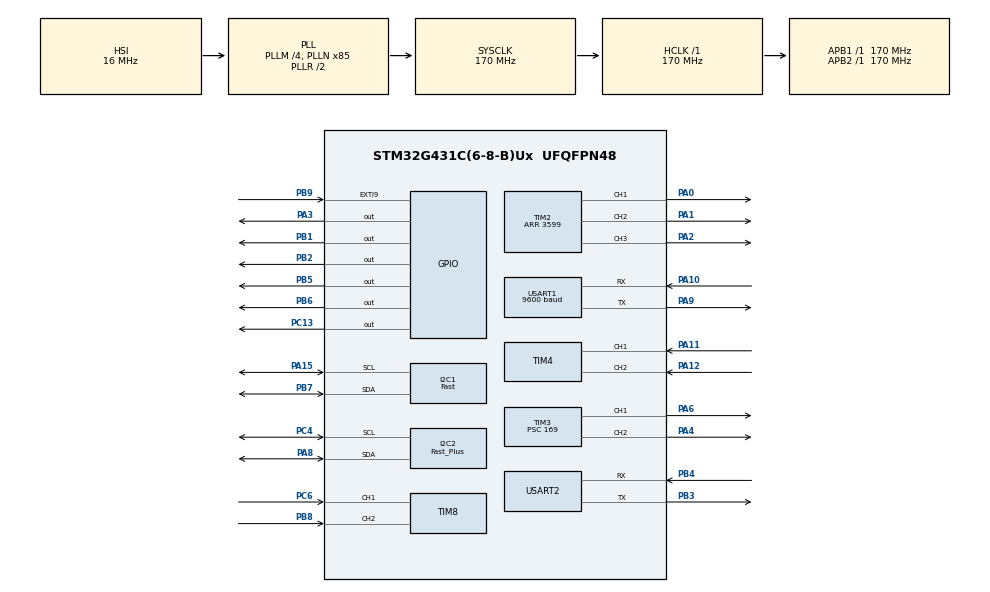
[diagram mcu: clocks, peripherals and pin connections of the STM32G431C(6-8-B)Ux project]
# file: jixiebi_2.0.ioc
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I2C1.I2C_Speed_Mode=I2C_Fast
I2C1.Timing=0x40621236
I2C2.I2C_Speed_Mode=I2C_Fast_Plus
I2C2.Timing=0x4052060F
Mcu.Family=STM32G4
Mcu.Name=STM32G431C(6-8-B)Ux
Mcu.Package=UFQFPN48
NVIC.EXTI9_5_IRQn=true\:0\:0\:false\:false\:true\:true\:true\:true
NVIC.PriorityGroup=NVIC_PRIORITYGROUP_4
NVIC.TIM6_DAC_IRQn=true\:0\:0\:false\:false\:true\:true\:true\:true
NVIC.USART1_IRQn=true\:0\:0\:true\:false\:true\:true\:true\:true
NVIC.USART2_IRQn=true\:0\:0\:false\:false\:true\:true\:true\:true
PA0.GPIO_Speed=GPIO_SPEED_FREQ_VERY_HIGH
PA0.Signal=S_TIM2_CH1
PA1.GPIO_Speed=GPIO_SPEED_FREQ_VERY_HIGH
PA1.Signal=S_TIM2_CH2
PA10.Mode=Asynchronous
PA10.Signal=USART1_RX
PA11.Signal=S_TIM4_CH1
PA12.Signal=S_TIM4_CH2
PA13.Mode=Serial_Wire
PA13.Signal=SYS_JTMS-SWDIO
PA14.Mode=Serial_Wire
PA14.Signal=SYS_JTCK-SWCLK
PA15.GPIO_Pu=GPIO_NOPULL
PA15.Mode=I2C
PA15.Signal=I2C1_SCL
PA2.GPIO_Speed=GPIO_SPEED_FREQ_VERY_HIGH
PA2.Signal=S_TIM2_CH3
PA3.Signal=GPIO_Output
PA4.GPIO_PuPd=GPIO_PULLDOWN
PA4.Signal=S_TIM3_CH2
PA6.Signal=S_TIM3_CH1
PA8.GPIO_Pu=GPIO_NOPULL
PA8.GPIO_Speed=GPIO_SPEED_FREQ_LOW
PA8.Mode=I2C
PA8.Signal=I2C2_SDA
PA9.Mode=Asynchronous
PA9.Signal=USART1_TX
PB1.Signal=GPIO_Output
PB2.Signal=GPIO_Output
PB3.Mode=Asynchronous
PB3.Signal=USART2_TX
PB4.Mode=Asynchronous
PB4.Signal=USART2_RX
PB5.Signal=GPIO_Output
PB6.Signal=GPIO_Output
PB7.GPIO_Pu=GPIO_NOPULL
PB7.Mode=I2C
PB7.Signal=I2C1_SDA
PB8-BOOT0.Signal=S_TIM8_CH2
PB9.Signal=GPXTI9
PC13.Signal=GPIO_Output
PC4.GPIO_Pu=GPIO_NOPULL
PC4.Mode=I2C
PC4.Signal=I2C2_SCL
PC6.Signal=S_TIM8_CH1
PF0-OSC_IN.Mode=HSE-External-Oscillator
PF0-OSC_IN.Signal=RCC_OSC_IN
PF1-OSC_OUT.Mode=HSE-External-Oscillator
PF1-OSC_OUT.Signal=RCC_OSC_OUT
ProjectManager.HeapSize=0x200
ProjectManager.StackSize=0x400
ProjectManager.TargetToolchain=MDK-ARM V5.32
RCC.ADC12Freq_Value=170000000
RCC.AHBFreq_Value=170000000
RCC.APB1Freq_Value=170000000
RCC.APB1TimFreq_Value=170000000
RCC.APB2Freq_Value=170000000
RCC.APB2TimFreq_Value=170000000
RCC.CortexFreq_Value=170000000
RCC.EXTERNAL_CLOCK_VALUE=12288000
RCC.HCLKFreq_Value=170000000
RCC.HSE_VALUE=8000000
RCC.HSI48_VALUE=48000000
RCC.HSI_VALUE=16000000
RCC.LSE_VALUE=32768
RCC.PLLM=RCC_PLLM_DIV4
RCC.PLLN=85
RCC.SYSCLKFreq_VALUE=170000000
RCC.SYSCLKSource=RCC_SYSCLKSOURCE_PLLCLK
RCC.USBFreq_Value=170000000
RCC.VCOOutputFreq_Value=340000000
SH.S_TIM2_CH1.0=TIM2_CH1,PWM Generation1 CH1
SH.S_TIM2_CH2.0=TIM2_CH2,PWM Generation2 CH2
SH.S_TIM2_CH3.0=TIM2_CH3,PWM Generation3 CH3
SH.S_TIM3_CH1.0=TIM3_CH1,PWM Generation1 CH1
SH.S_TIM3_CH2.0=TIM3_CH2,PWM Generation2 CH2
SH.S_TIM4_CH1.0=TIM4_CH1,Encoder_Interface
SH.S_TIM4_CH2.0=TIM4_CH2,Encoder_Interface
SH.S_TIM8_CH1.0=TIM8_CH1,Encoder_Interface
SH.S_TIM8_CH2.0=TIM8_CH2,Encoder_Interface
TIM2.AutoReloadPreload=TIM_AUTORELOAD_PRELOAD_ENABLE
TIM2.Channel-PWM\ Generation1\ CH1=TIM_CHANNEL_1
TIM2.Channel-PWM\ Generation2\ CH2=TIM_CHANNEL_2
TIM2.Channel-PWM\ Generation3\ CH3=TIM_CHANNEL_3
TIM2.PeriodNoDither=3599
TIM3.AutoReloadPreload=TIM_AUTORELOAD_PRELOAD_ENABLE
TIM3.Channel-PWM\ Generation1\ CH1=TIM_CHANNEL_1
TIM3.Channel-PWM\ Generation2\ CH2=TIM_CHANNEL_2
TIM3.PeriodNoDither=999
TIM3.Prescaler=169
TIM4.EncoderMode=TIM_ENCODERMODE_TI12
TIM6.PeriodNoDither=9999
TIM6.Prescaler=169
TIM8.EncoderMode=TIM_ENCODERMODE_TI12
USART1.BaudRate=9600
USART1.VirtualMode-Asynchronous=VM_ASYNC
USART2.VirtualMode-Asynchronous=VM_ASYNC
VP_SYS_VS_DBSignals.Mode=DisableDeadBatterySignals
VP_TIM6_VS_ClockSourceINT.Mode=Enable_Timer
board=custom

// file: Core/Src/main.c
/* USER CODE BEGIN Header */
/**
  ******************************************************************************
  * @file           : main.c
  * @brief          : Main program body
  ******************************************************************************
  * @attention
  *
  * Copyright (c) 2026 STMicroelectronics.
  * All rights reserved.
  *
  * This software is licensed under terms that can be found in the LICENSE file
  * in the root directory of this software component.
  * If no LICENSE file comes with this software, it is provided AS-IS.
  *
  ******************************************************************************
  */
/* USER CODE END Header */
#include "main.h"
#include "i2c.h"
#include "tim.h"
#include "usart.h"
#include "gpio.h"

/* USER CODE BEGIN Includes */

#include "stdio.h"
#include "string.h"
#include "servo.h"
#include "pca9685.h"
#include "Motor.h"
#include "Encoder.h"
#include "PID_M.h"
#include "MPU6050.h"

// #include "bldc_driver.h"
// #include "as5600.h"
// #include "pid.h"

/* USER CODE END Includes */

/* USER CODE BEGIN PTD */

#pragma pack(push, 1)
typedef struct {
    uint8_t header1;    // 0xAA
    uint8_t header2;    // 0x55
    uint8_t mode;       // 0, 1, 2
    float x;
    float y;
    float z;
    float wrist;
    float gripper;//90~180度，大于90度闭合
    uint8_t checksum;
    uint8_t tail;       // 0xEE
} K230_Packet_t;
#pragma pack(pop)

/* USER CODE END PTD */

/* USER CODE BEGIN PV */

Arm_State ARM = {
    .mode = MODE_AUTO_REACH
};
float ThreeD_x = 100.0f;
float ThreeD_y = 0.0f;
float ThreeD_z = 100.0f;
              int16_t dx;
              int16_t dy;

//USART1
char rx_buffer[64];  // 接收缓冲区
uint8_t rx_data;     // 存放接收的单个字符
uint8_t rx_index = 0; // 缓冲区索引
uint8_t rx_complete = 0; //接收完成标志位

//USART2
uint8_t rx2_data;              // 单个字节接收缓存
uint8_t rx2_buffer[11]; // 完整数据帧缓存
uint8_t rx2_index = 0;         // 接收索引
uint8_t rx2_state = 0;         // 状态机状态
volatile uint8_t k230_data_ready = 0; // K230数据就绪标志
K230_Packet_t k230_data;

//外部变量
extern IK_Result_t result;
extern float p_log;

////无刷电机
//extern PID_Controller angle_pid;// 1. 实例化并初始化 PID 控制器
//extern BLDC_Driver_t motor_driver;
//extern AS5600_t encoder;
//extern float final_start_angle;

FK_Result_t* FK_result; //正解结果指针

//底盘
Motor_Speed_t speed = {0};

/* USER CODE END PV */

void SystemClock_Config(void);

/* USER CODE BEGIN 0 */

// 支持 printf 的重定向代码
#ifdef __GNUC__
#define PUTCHAR_PROTOTYPE int __io_putchar(int ch)
#else
#define PUTCHAR_PROTOTYPE int fputc(int ch, FILE *f)
#endif
PUTCHAR_PROTOTYPE
{
   HAL_UART_Transmit(&huart2, (uint8_t *)&ch, 1, 0xFFFF);
   return ch;
}

void HAL_TIM_PeriodElapsedCallback(TIM_HandleTypeDef *htim)
{
  if (htim->Instance == TIM6) {

//	  if(result.ready == 1)
//	  {
//		  servo_xyz();
//		  result.ready = 0;
//	  }
	  speed = Motor_GetPWM(result.j[0]);
	  Motor_SetSpeed_PWM(speed.left_pwm,speed.right_pwm);
	}
}

void HAL_UART_RxCpltCallback(UART_HandleTypeDef *huart)
{

    if (huart->Instance == USART1)
    {
//      HAL_GPIO_TogglePin(GPIOC, GPIO_PIN_13);
      switch(rx_data) {
          case 'a':
              ARM.mode = MODE_AUTO_REACH;
              printf("Switched to MODE_AUTO_REACH\r\n");
              break;
          case 'f':
              ARM.mode = MODE_GRAB_FLAT;
              printf("Switched to MODE_GRAB_FLAT\r\n");
              break;
          case 'd':
              ARM.mode = MODE_GRAB_DOWN;
              printf("Switched to MODE_GRAB_DOWN\r\n");
              break;
          default:
                if (rx_data == '\n' || rx_data == '\r' || rx_data == ';')
                {
                    rx_buffer[rx_index] = '\0';// 加上字符串结束符
                    rx_complete = 1;
                    rx_index = 0;
                }
                else
                {
                    if (rx_index < 63)
                    {
                        rx_buffer[rx_index++] = rx_data;
                    }
                }
              break;
      }
      HAL_UART_Receive_IT(&huart1, &rx_data, 1);
    }

    if (huart->Instance == USART2)
    {
        // switch (rx2_state)
        // {
        //     case 0: // 找帧头 1
        //         if (rx2_data == 0xAA)
        //         {
        //           rx2_buffer[0] = rx2_data;
        //           rx2_state = 1;
        //         }
        //         break;
        //     case 1: // 找帧头 2
        //         if (rx2_data == 0x55)
        //         {
        //           rx2_buffer[1] = rx2_data;
        //           rx2_index = 2;
        //           rx2_state = 2;
        //         }
        //         else rx2_state = 0;
        //         break;
        //     case 2: // 接收数据体
        //         rx2_buffer[rx2_index++] = rx2_data;
        //         if (rx2_index >= sizeof(K230_Packet_t)) rx2_state = 3;
        //         break;
        // }

        // if (rx2_state == 3)
        // {
        //     if (rx2_buffer[sizeof(K230_Packet_t) - 1] == 0xEE)
        //     {
        //         uint8_t cal_checksum = 0;
        //         for (int i = 2; i < 23; i++) cal_checksum += rx2_buffer[i]; // 算校验和
        //         if (cal_checksum == rx2_buffer[15])
        //         {
        //             memcpy(&k230_data, rx2_buffer, sizeof(K230_Packet_t));
        //             k230_data_ready = 1;
        //         }
        //     }
        //     rx2_state = 0;
        //     rx2_index = 0;
        // }

		HAL_GPIO_TogglePin(GPIOC, GPIO_PIN_13);
        switch (rx2_state)
        {
            case 0:
                if (rx2_data == 0xAA)
                {
                  rx2_buffer[0] = rx2_data;
                  rx2_state = 1;
                }
                break;
            case 1:
                if (rx2_data == 0x55)
                {
                  rx2_buffer[1] = rx2_data;
                  rx2_index = 2;
                  rx2_state = 2;
                }
                else rx2_state = 0;
                break;
            case 2:
                rx2_buffer[rx2_index++] = rx2_data;
                if (rx2_index >= 11)
                {
                    rx2_state = 3;
                }
                break;
        }
        k230_data_ready = 1;
        HAL_UART_Receive_IT(&huart2, &rx2_data, 1);
    }
}

/* USER CODE END 0 */

int main(void)
{

  /* USER CODE BEGIN 1 */

  // --- 新增：极速拉低 PA4 和 PA6 ---
  __HAL_RCC_GPIOA_CLK_ENABLE();
  GPIO_InitTypeDef GPIO_InitStruct = {0};
  GPIO_InitStruct.Pin = GPIO_PIN_4 | GPIO_PIN_6;
  GPIO_InitStruct.Mode = GPIO_MODE_OUTPUT_PP;
  GPIO_InitStruct.Pull = GPIO_PULLDOWN; // 软件强制下拉
  GPIO_InitStruct.Speed = GPIO_SPEED_FREQ_LOW;
  HAL_GPIO_Init(GPIOA, &GPIO_InitStruct);
  HAL_GPIO_WritePin(GPIOA, GPIO_PIN_4 | GPIO_PIN_6, GPIO_PIN_RESET);

  /* USER CODE END 1 */

  /* MCU Configuration--------------------------------------------------------*/

  /* Reset of all peripherals, Initializes the Flash interface and the Systick. */
  HAL_Init();

  /* Configure the system clock */
  SystemClock_Config();

  /* Initialize all configured peripherals */
  MX_GPIO_Init();
  MX_I2C1_Init();
  MX_USART1_UART_Init();
  MX_TIM2_Init();
  MX_I2C2_Init();
  MX_USART2_UART_Init();
  MX_TIM3_Init();
  MX_TIM4_Init();
  MX_TIM8_Init();
  MX_TIM6_Init();
  /* USER CODE BEGIN 2 */

//  BLDC_Init(&motor_driver, &htim2, 12.0f);
//  AS5600_Init(&encoder, &hi2c2);
//  BLDC_Enable();
//  PID_Init(&angle_pid, 1.5f, 0.2f, 1.0f, 3.0f);
//  align_sensor(final_start_angle);
  ARM.mode = MODE_GRAB_FLAT;

  MPU_Init();
  MPU_Calibrate_Gyro_Z(300); // 校准
  HAL_Delay(2000);
//  Encoder_Init();
	PCA9685_Init(50.0f);
  servo_init();
  Motor_Init_PWM();
  result.j[0] = 0.0f;

  HAL_Delay(200);
  HAL_TIM_Base_Start_IT(&htim6);
  HAL_UART_Receive_IT(&huart1, &rx_data, 1);
  HAL_UART_Receive_IT(&huart2, &rx_data, 1);
  printf("Ready!\r\n");
  HAL_GPIO_WritePin(GPIOC,GPIO_PIN_13,GPIO_PIN_SET);
//  Motor_SetSpeed_PWM(0,500);

  /* USER CODE END 2 */

  /* Infinite loop */
  /* USER CODE BEGIN WHILE */
  while (1)
  {
//    HAL_GPIO_TogglePin(GPIOC, GPIO_PIN_13);
//	  HAL_Delay(200);
    if (rx2_state == 3)
    {
        if (rx2_buffer[11 - 1] == 0xBB)
        {
            uint8_t cal_checksum = 0;
            for (int i = 2; i < 9; i++) cal_checksum += rx2_buffer[i];
            if (cal_checksum == rx2_buffer[9])
            {
            dx = (int16_t)((rx2_buffer[4] << 8) | rx2_buffer[5]);
            dy = (int16_t)((rx2_buffer[6] << 8) | rx2_buffer[7]);
              uint8_t distance = (uint8_t)rx2_buffer[8] ;

              if (dx == 9999 || dy == 9999)
              {
                  // 丢失目标
              }
              else
              {
                  float Kp = 0.0005f;
                  ThreeD_y += (dx * Kp);
                  if(dx*Kp < 1.0f)
                  {
                    ThreeD_z += (dy * Kp);
                  }
                  if(dx*Kp < 1.0f && dy*Kp < 1.0f)
                  {
                    ThreeD_z += distance * sinf(p_log * (M_PI / 180.0f));
                    ThreeD_x += distance * cosf(p_log * (M_PI / 180.0f));
                  }

				if(ThreeD_x > 169.0f) ThreeD_x = 169.0f;
				if(ThreeD_x < -169.0f) ThreeD_x = -169.0f;
				if(ThreeD_y > 169.0f) ThreeD_y = 169.0f;
				if(ThreeD_y < -169.0f) ThreeD_y = -169.0f;
				if(ThreeD_z > 225.0f) ThreeD_z = 225.0f;
				if(ThreeD_z < -50.0f)  ThreeD_z = -50.0f;

                  result = IK_Get_Target_Angle(ThreeD_x, ThreeD_y, ThreeD_z, ARM.mode);
//                  result.j[4] = k230_data.wrist;
//                  result.j[5] = k230_data.gripper;
				  servo_xyz();
                  result.ready = 1;
              }
            }
        }
        rx2_state = 0;
        rx2_index = 0;
     }
//	servo_xyz();

     if (rx_complete)
     {
       rx_complete = 0;
       float target_x, target_y, target_z;
       if (sscanf(rx_buffer, "x%f y%f z%f", &target_x, &target_y, &target_z) == 3)
       {
         printf("Processing: [%s]\r\n", rx_buffer);
         printf("Target Received -> X:%.1f Y:%.1f Z:%.1f\r\n", target_x, target_y, target_z);
         IK_Result_t temporary = IK_Get_Target_Angle(target_x, target_y, target_z, ARM.mode);
         for(int i = 0; i < 6; i++) {
         result.j[i] = temporary.j[i];
       }
       result.ready = 1;
       printf("=== Servo Angles ===\r\nJ0: %.2f | J1: %.2f | J2: %.2f\r\nJ3: %.2f | J4: %.2f | J5: %.2f | P: %.2f \r\n--------------------\r\n", result.j[0], result.j[1], result.j[2], result.j[3], result.j[4], result.j[5], p_log);
       FK_result = FK_Solve_Core(result.j[0], result.j[1], result.j[2], result.j[3]);
       printf("%.2f|%.2f\n%.2f|%.2f\n%.2f|%.2f\n%.2f|%.2f\n--------------------\n", FK_result[0].x, FK_result[0].z, FK_result[1].x, FK_result[1].z, FK_result[2].x, FK_result[2].z, FK_result[3].x, FK_result[3].z);
 	  }
       else
       {
         printf("Error, Please use: x100 y50 z20\r\n");
       }
       // memset(rx_buffer, 0, sizeof(rx_buffer));

     }

    /* USER CODE END WHILE */

  }
}

void SystemClock_Config(void)
{
  RCC_OscInitTypeDef RCC_OscInitStruct = {0};
  RCC_ClkInitTypeDef RCC_ClkInitStruct = {0};

  /** Configure the main internal regulator output voltage
  */
  HAL_PWREx_ControlVoltageScaling(PWR_REGULATOR_VOLTAGE_SCALE1_BOOST);

  /** Initializes the RCC Oscillators according to the specified parameters
  * in the RCC_OscInitTypeDef structure.
  */
  RCC_OscInitStruct.OscillatorType = RCC_OSCILLATORTYPE_HSI;
  RCC_OscInitStruct.HSIState = RCC_HSI_ON;
  RCC_OscInitStruct.HSICalibrationValue = RCC_HSICALIBRATION_DEFAULT;
  RCC_OscInitStruct.PLL.PLLState = RCC_PLL_ON;
  RCC_OscInitStruct.PLL.PLLSource = RCC_PLLSOURCE_HSI;
  RCC_OscInitStruct.PLL.PLLM = RCC_PLLM_DIV4;
  RCC_OscInitStruct.PLL.PLLN = 85;
  RCC_OscInitStruct.PLL.PLLP = RCC_PLLP_DIV2;
  RCC_OscInitStruct.PLL.PLLQ = RCC_PLLQ_DIV2;
  RCC_OscInitStruct.PLL.PLLR = RCC_PLLR_DIV2;
  if (HAL_RCC_OscConfig(&RCC_OscInitStruct) != HAL_OK)
  {
    Error_Handler();
  }

  /** Initializes the CPU, AHB and APB buses clocks
  */
  RCC_ClkInitStruct.ClockType = RCC_CLOCKTYPE_HCLK|RCC_CLOCKTYPE_SYSCLK
                              |RCC_CLOCKTYPE_PCLK1|RCC_CLOCKTYPE_PCLK2;
  RCC_ClkInitStruct.SYSCLKSource = RCC_SYSCLKSOURCE_PLLCLK;
  RCC_ClkInitStruct.AHBCLKDivider = RCC_SYSCLK_DIV1;
  RCC_ClkInitStruct.APB1CLKDivider = RCC_HCLK_DIV1;
  RCC_ClkInitStruct.APB2CLKDivider = RCC_HCLK_DIV1;

  if (HAL_RCC_ClockConfig(&RCC_ClkInitStruct, FLASH_LATENCY_4) != HAL_OK)
  {
    Error_Handler();
  }
}

void Error_Handler(void)
{
  __disable_irq();
  while (1)
  {
  }
}
